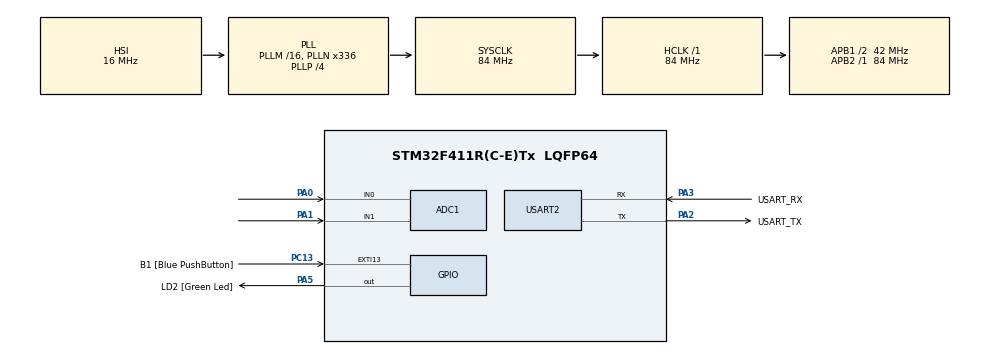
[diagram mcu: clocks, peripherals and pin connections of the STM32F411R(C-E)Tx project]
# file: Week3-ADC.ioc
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ADC1.Channel-0\#ChannelRegularConversion=ADC_CHANNEL_0
ADC1.NbrOfConversionFlag=1
ADC1.Rank-0\#ChannelRegularConversion=1
ADC1.SamplingTime-0\#ChannelRegularConversion=ADC_SAMPLETIME_3CYCLES
ADC1.master=1
Mcu.Family=STM32F4
Mcu.Name=STM32F411R(C-E)Tx
Mcu.Package=LQFP64
NVIC.PriorityGroup=NVIC_PRIORITYGROUP_0
PA0-WKUP.Signal=ADCx_IN0
PA1.Signal=ADCx_IN1
PA13.GPIO_Label=TMS
PA13.Mode=Serial_Wire
PA13.Signal=SYS_JTMS-SWDIO
PA14.GPIO_Label=TCK
PA14.Mode=Serial_Wire
PA14.Signal=SYS_JTCK-SWCLK
PA2.GPIO_Label=USART_TX
PA2.Mode=Asynchronous
PA2.Signal=USART2_TX
PA3.GPIO_Label=USART_RX
PA3.Mode=Asynchronous
PA3.Signal=USART2_RX
PA5.GPIO_Label=LD2 [Green Led]
PA5.Signal=GPIO_Output
PB3.GPIO_Label=SWO
PB3.Signal=SYS_JTDO-SWO
PC13-ANTI_TAMP.GPIO_Label=B1 [Blue PushButton]
PC13-ANTI_TAMP.GPIO_ModeDefaultEXTI=GPIO_MODE_IT_FALLING
PC13-ANTI_TAMP.Signal=GPXTI13
PC14-OSC32_IN.Mode=LSE-External-Oscillator
PC14-OSC32_IN.Signal=RCC_OSC32_IN
PC15-OSC32_OUT.Mode=LSE-External-Oscillator
PC15-OSC32_OUT.Signal=RCC_OSC32_OUT
PH0\ -\ OSC_IN.Mode=HSE-External-Clock-Source
PH0\ -\ OSC_IN.Signal=RCC_OSC_IN
PH1\ -\ OSC_OUT.Mode=HSE-External-Clock-Source
PH1\ -\ OSC_OUT.Signal=RCC_OSC_OUT
ProjectManager.HeapSize=0x200
ProjectManager.StackSize=0x400
ProjectManager.TargetToolchain=STM32CubeIDE
RCC.48MHZClocksFreq_Value=84000000
RCC.AHBFreq_Value=84000000
RCC.APB1CLKDivider=RCC_HCLK_DIV2
RCC.APB1Freq_Value=42000000
RCC.APB1TimFreq_Value=84000000
RCC.APB2Freq_Value=84000000
RCC.APB2TimFreq_Value=84000000
RCC.CortexFreq_Value=84000000
RCC.FLatency-AdvancedSettings=FLASH_LATENCY_2
RCC.HCLKFreq_Value=84000000
RCC.HSE_VALUE=8000000
RCC.HSI_VALUE=16000000
RCC.PLLN=336
RCC.PLLP=RCC_PLLP_DIV4
RCC.SYSCLKFreq_VALUE=84000000
RCC.SYSCLKSource=RCC_SYSCLKSOURCE_PLLCLK
RCC.VCOOutputFreq_Value=336000000
SH.ADCx_IN0.0=ADC1_IN0,IN0
SH.ADCx_IN1.0=ADC1_IN1,IN1
USART2.VirtualMode=VM_ASYNC
VP_ADC1_TempSens_Input.Mode=IN-TempSens
board=NUCLEO-F411RE

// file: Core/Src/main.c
/* USER CODE BEGIN Header */
/**
 ******************************************************************************
 * @file           : main.c
 * @brief          : Main program body
 ******************************************************************************
 * @attention
 *
 * <h2><center>&copy; Copyright (c) 2021 STMicroelectronics.
 * All rights reserved.</center></h2>
 *
 * This software component is licensed by ST under BSD 3-Clause license,
 * the "License"; You may not use this file except in compliance with the
 * License. You may obtain a copy of the License at:
 *                        opensource.org/licenses/BSD-3-Clause
 *
 ******************************************************************************
 */
/* USER CODE END Header */
#include "main.h"

ADC_HandleTypeDef hadc1;

UART_HandleTypeDef huart2;

/* USER CODE BEGIN PV */
int V25 = 760;
float Avg_Slope = 2.5;
float ADCOutputConverted = 0 ;
int ADCMode = 0;
int time = 0;

typedef struct {
	ADC_ChannelConfTypeDef Config;
	uint32_t data;
} ADCStructure;

ADCStructure ADCChannel[2] = { 0 };

/* USER CODE END PV */

void SystemClock_Config(void);
static void MX_GPIO_Init(void);
static void MX_USART2_UART_Init(void);
static void MX_ADC1_Init(void);
/* USER CODE BEGIN PFP */
void ADCPollingMethodInit();
void ADCPollingMethodUpdate();
/* USER CODE END PFP */

int main(void)
{

  /* MCU Configuration--------------------------------------------------------*/

  /* Reset of all peripherals, Initializes the Flash interface and the Systick. */
  HAL_Init();

  /* Configure the system clock */
  SystemClock_Config();

  /* Initialize all configured peripherals */
  MX_GPIO_Init();
  MX_USART2_UART_Init();
  MX_ADC1_Init();
  /* USER CODE BEGIN 2 */
	ADCPollingMethodInit();

  /* USER CODE END 2 */

  /* Infinite loop */
	while (1) {

    /* USER CODE BEGIN 3 */

		ADCPollingMethodUpdate();
	}
  /* USER CODE END 3 */
}

void SystemClock_Config(void)
{
  RCC_OscInitTypeDef RCC_OscInitStruct = {0};
  RCC_ClkInitTypeDef RCC_ClkInitStruct = {0};

  /** Configure the main internal regulator output voltage
  */
  __HAL_RCC_PWR_CLK_ENABLE();
  __HAL_PWR_VOLTAGESCALING_CONFIG(PWR_REGULATOR_VOLTAGE_SCALE1);
  /** Initializes the RCC Oscillators according to the specified parameters
  * in the RCC_OscInitTypeDef structure.
  */
  RCC_OscInitStruct.OscillatorType = RCC_OSCILLATORTYPE_HSI;
  RCC_OscInitStruct.HSIState = RCC_HSI_ON;
  RCC_OscInitStruct.HSICalibrationValue = RCC_HSICALIBRATION_DEFAULT;
  RCC_OscInitStruct.PLL.PLLState = RCC_PLL_ON;
  RCC_OscInitStruct.PLL.PLLSource = RCC_PLLSOURCE_HSI;
  RCC_OscInitStruct.PLL.PLLM = 16;
  RCC_OscInitStruct.PLL.PLLN = 336;
  RCC_OscInitStruct.PLL.PLLP = RCC_PLLP_DIV4;
  RCC_OscInitStruct.PLL.PLLQ = 4;
  if (HAL_RCC_OscConfig(&RCC_OscInitStruct) != HAL_OK)
  {
    Error_Handler();
  }
  /** Initializes the CPU, AHB and APB buses clocks
  */
  RCC_ClkInitStruct.ClockType = RCC_CLOCKTYPE_HCLK|RCC_CLOCKTYPE_SYSCLK
                              |RCC_CLOCKTYPE_PCLK1|RCC_CLOCKTYPE_PCLK2;
  RCC_ClkInitStruct.SYSCLKSource = RCC_SYSCLKSOURCE_PLLCLK;
  RCC_ClkInitStruct.AHBCLKDivider = RCC_SYSCLK_DIV1;
  RCC_ClkInitStruct.APB1CLKDivider = RCC_HCLK_DIV2;
  RCC_ClkInitStruct.APB2CLKDivider = RCC_HCLK_DIV1;

  if (HAL_RCC_ClockConfig(&RCC_ClkInitStruct, FLASH_LATENCY_2) != HAL_OK)
  {
    Error_Handler();
  }
}

static void MX_ADC1_Init(void)
{

  ADC_ChannelConfTypeDef sConfig = {0};

  /** Configure the global features of the ADC (Clock, Resolution, Data Alignment and number of conversion)
  */
  hadc1.Instance = ADC1;
  hadc1.Init.ClockPrescaler = ADC_CLOCK_SYNC_PCLK_DIV4;
  hadc1.Init.Resolution = ADC_RESOLUTION_12B;
  hadc1.Init.ScanConvMode = DISABLE;
  hadc1.Init.ContinuousConvMode = DISABLE;
  hadc1.Init.DiscontinuousConvMode = DISABLE;
  hadc1.Init.ExternalTrigConvEdge = ADC_EXTERNALTRIGCONVEDGE_NONE;
  hadc1.Init.ExternalTrigConv = ADC_SOFTWARE_START;
  hadc1.Init.DataAlign = ADC_DATAALIGN_RIGHT;
  hadc1.Init.NbrOfConversion = 1;
  hadc1.Init.DMAContinuousRequests = DISABLE;
  hadc1.Init.EOCSelection = ADC_EOC_SINGLE_CONV;
  if (HAL_ADC_Init(&hadc1) != HAL_OK)
  {
    Error_Handler();
  }
  /** Configure for the selected ADC regular channel its corresponding rank in the sequencer and its sample time.
  */
  sConfig.Channel = ADC_CHANNEL_0;
  sConfig.Rank = 1;
  sConfig.SamplingTime = ADC_SAMPLETIME_3CYCLES;
  if (HAL_ADC_ConfigChannel(&hadc1, &sConfig) != HAL_OK)
  {
    Error_Handler();
  }

}

static void MX_USART2_UART_Init(void)
{

  huart2.Instance = USART2;
  huart2.Init.BaudRate = 115200;
  huart2.Init.WordLength = UART_WORDLENGTH_8B;
  huart2.Init.StopBits = UART_STOPBITS_1;
  huart2.Init.Parity = UART_PARITY_NONE;
  huart2.Init.Mode = UART_MODE_TX_RX;
  huart2.Init.HwFlowCtl = UART_HWCONTROL_NONE;
  huart2.Init.OverSampling = UART_OVERSAMPLING_16;
  if (HAL_UART_Init(&huart2) != HAL_OK)
  {
    Error_Handler();
  }

}

static void MX_GPIO_Init(void)
{
  GPIO_InitTypeDef GPIO_InitStruct = {0};

  /* GPIO Ports Clock Enable */
  __HAL_RCC_GPIOC_CLK_ENABLE();
  __HAL_RCC_GPIOH_CLK_ENABLE();
  __HAL_RCC_GPIOA_CLK_ENABLE();
  __HAL_RCC_GPIOB_CLK_ENABLE();

  /*Configure GPIO pin Output Level */
  HAL_GPIO_WritePin(LD2_GPIO_Port, LD2_Pin, GPIO_PIN_RESET);

  /*Configure GPIO pin : B1_Pin */
  GPIO_InitStruct.Pin = B1_Pin;
  GPIO_InitStruct.Mode = GPIO_MODE_IT_FALLING;
  GPIO_InitStruct.Pull = GPIO_NOPULL;
  HAL_GPIO_Init(B1_GPIO_Port, &GPIO_InitStruct);

  /*Configure GPIO pin : LD2_Pin */
  GPIO_InitStruct.Pin = LD2_Pin;
  GPIO_InitStruct.Mode = GPIO_MODE_OUTPUT_PP;
  GPIO_InitStruct.Pull = GPIO_NOPULL;
  GPIO_InitStruct.Speed = GPIO_SPEED_FREQ_LOW;
  HAL_GPIO_Init(LD2_GPIO_Port, &GPIO_InitStruct);

}

/* USER CODE BEGIN 4 */
void ADCPollingMethodInit() {
	//config all ADC Channel
	ADCChannel[0].Config.Channel = ADC_CHANNEL_0;
	ADCChannel[0].Config.Rank = 1;
	ADCChannel[0].Config.SamplingTime = ADC_SAMPLETIME_3CYCLES;

	ADCChannel[1].Config.Channel = ADC_CHANNEL_TEMPSENSOR;
	ADCChannel[1].Config.Rank = 1;
	ADCChannel[1].Config.SamplingTime = ADC_SAMPLETIME_3CYCLES;
}
//Polling Method
void ADCPollingMethodUpdate() {
	GPIO_PinState Button[2];
	Button[0]= HAL_GPIO_ReadPin(GPIOC, GPIO_PIN_13);

	if(Button[0]==GPIO_PIN_RESET)
	{
		if(ADCMode == 0)
		{
			ADCMode = 1;
			//Select Channel
			HAL_ADC_ConfigChannel(&hadc1, &ADCChannel[1].Config);
			//ADC sampling ,Convert
			HAL_ADC_Start(&hadc1);
			//Wait ADC
			if(HAL_ADC_PollForConversion(&hadc1, 10) == HAL_OK)
			{
				//Get Value
				ADCChannel[1].data = HAL_ADC_GetValue(&hadc1);
				ADCOutputConverted = (((((ADCChannel[1].data * 3.3 * 1000) / 4096) - V25)/ Avg_Slope)+ 25);
			}
			//Stop
			HAL_ADC_Stop(&hadc1);
		}
		else if(ADCMode == 1)
		{
			ADCMode = 0;
			//Select Channel
			HAL_ADC_ConfigChannel(&hadc1, &ADCChannel[0].Config);
			//ADC sampling ,Convert
			HAL_ADC_Start(&hadc1);
			//Wait ADC
			if(HAL_ADC_PollForConversion(&hadc1, 10) == HAL_OK)
			{
				//Get Value
				ADCChannel[0].data = HAL_ADC_GetValue(&hadc1);
				ADCOutputConverted = (((ADCChannel[0].data * 3.3) / 4096) * 1000);
			}
			//Stop
			HAL_ADC_Stop(&hadc1);
		}
	}
	Button[1] = Button[0];
}
/* USER CODE END 4 */

void Error_Handler(void)
{
	__disable_irq();
	while (1) {
	}
}

/************************ (C) COPYRIGHT STMicroelectronics *****END OF FILE****/
